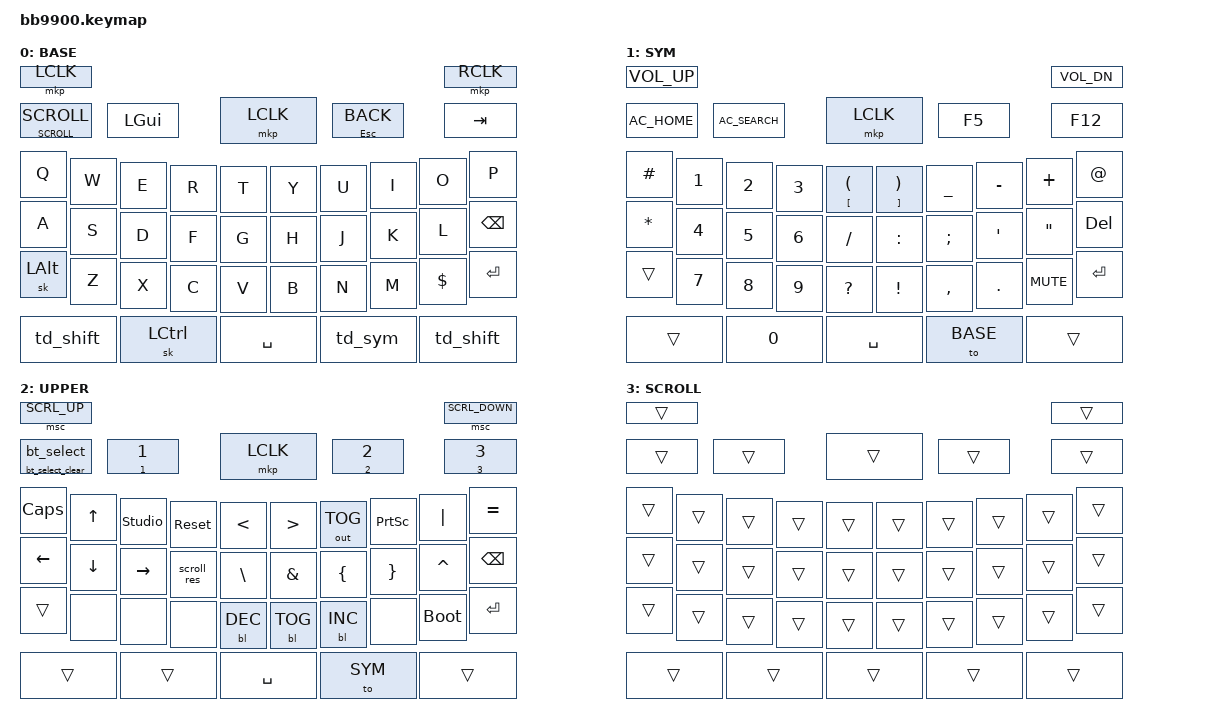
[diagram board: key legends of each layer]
/*
 * Copyright (c) 2023 ZitaoTech
 *
 * SPDX-License-Identifier: MIT
 */

#include <behaviors.dtsi>
#include <dt-bindings/zmk/keys.h>
#include <dt-bindings/zmk/bt.h>
#include <dt-bindings/zmk/outputs.h>
#include <dt-bindings/zmk/pointing.h>
#include <dt-bindings/zmk/backlight.h>
#include <dt-bindings/zmk/input_transform.h>

#define BASE 0
#define SYM 1
#define UPPER 2
#define SCROLL 3  // Keep in sync with CONFIG_ZMK_BB9900_TRACKPAD_INDICATOR_LAYER.

// Key positions used by combos.
#define POS_ALT 27
#define POS_LEFT_AA 37
#define POS_RIGHT_AA 41

// Modifiers and layers are sticky, BlackBerry style: tap applies to the next key, hold works
// as normal. Give up after 2 s instead of the default 1 s.
//
// The double-tap window (tapping-term-ms on the tap dances below) counts from the first press.
// aA presses are also held back by the alt + aA combo for up to its timeout, so keep the window
// generous: a single tap still resolves as soon as the next key is pressed.
//
// Layer keys: SYM taps for one key, holds for momentary and double-taps to lock; alt + aA
// toggles UPPER. In a locked SYM, SYM returns to BASE; in UPPER, SYM switches to SYM.
&sk {
    release-after-ms = <2000>;
    quick-release;
};

&sl {
    release-after-ms = <2000>;
};

/ {
    behaviors {
        // Big buttons on UPPER: tap to select a Bluetooth profile, hold 2 s to select and clear it.
        bt_select: bt_select {
            compatible = "zmk,behavior-macro-one-param";
            #binding-cells = <1>;
            bindings = <&macro_param_1to2>, <&bt BT_SEL MACRO_PLACEHOLDER>;
        };

        bt_select_clear: bt_select_clear {
            compatible = "zmk,behavior-macro-one-param";
            #binding-cells = <1>;
            bindings = <&macro_param_1to2>, <&bt BT_SEL MACRO_PLACEHOLDER>, <&bt BT_CLR>;
        };

        bt_profile: bt_profile {
            compatible = "zmk,behavior-hold-tap";
            #binding-cells = <2>;
            flavor = "tap-preferred";
            tapping-term-ms = <2000>;
            bindings = <&bt_select_clear>, <&bt_select>;
        };

        // Toggle smooth or whole-notch scrolling for the current output (USB or BLE profile).
        scroll_res: scroll_resolution {
            compatible = "zitaotech,behavior-scroll-resolution";
            #binding-cells = <0>;
        };

        // Call: tap to toggle scroll mode, hold to scroll while held.
        scroll_mode: scroll_mode {
            compatible = "zmk,behavior-hold-tap";
            #binding-cells = <2>;
            flavor = "hold-preferred";
            tapping-term-ms = <150>;
            bindings = <&mo>, <&tog>;
        };

        // aA: tap for one capital, hold for Shift, double-tap for caps word.
        td_shift: tap_dance_shift {
            compatible = "zmk,behavior-tap-dance";
            #binding-cells = <0>;
            tapping-term-ms = <300>;
            bindings = <&sk LSHFT>, <&caps_word>;
        };

        // SYM: tap for one key from SYM, hold for SYM, double-tap to lock it.
        td_sym: tap_dance_sym {
            compatible = "zmk,behavior-tap-dance";
            #binding-cells = <0>;
            tapping-term-ms = <300>;
            bindings = <&sl SYM>, <&to SYM>;
        };
    };

    combos {
        compatible = "zmk,combos";

        upper_left {
            timeout-ms = <50>;
            key-positions = <POS_ALT POS_LEFT_AA>;
            bindings = <&tog UPPER>;
        };

        upper_right {
            timeout-ms = <50>;
            key-positions = <POS_ALT POS_RIGHT_AA>;
            bindings = <&tog UPPER>;
        };
    };

    keymap {
        compatible = "zmk,keymap";

        default_layer {
            display-name = "BASE";
            bindings = <
//         --------------------------------------------------------------------------------------------------------------------------
//         |    Shoulder Key1    |                                                                             |    Shoulder Key2    |
// |         Call key      |      Blackberry Key        |    Trackpad    |             Back Key                |             Endcall Key          |
// |     Q      |     W    |     E    |     R    |      T      |       Y        |       U        |        I        |       O      |      P        |
// |     A      |     S    |     D    |     F    |      G      |       H        |       J        |        K        |       L      |      ←        |
// |     alt    |     Z    |     X    |     C    |      V      |       B        |       N        |        M        |       $      |    Enter      |
//        |         aA     |         0           |           SPACE              |         SYM         |        aA          |
//        -----------------------------------------------------------------------------------------------------------------
// alt + aA (either) = UPPER

                 &mkp LCLK                                                                                          &mkp RCLK
    &scroll_mode SCROLL SCROLL &kp LGUI                         &mkp LCLK                          &mt ESC K_BACK                    &kp TAB
    &kp Q        &kp W      &kp E       &kp R     &kp T         &kp Y             &kp U            &kp I            &kp O            &kp P
    &kp A        &kp S      &kp D       &kp F     &kp G         &kp H             &kp J            &kp K            &kp L            &kp BSPC
    &sk LALT     &kp Z      &kp X       &kp C     &kp V         &kp B             &kp N            &kp M            &kp DLLR         &kp ENTER
    &td_shift               &sk LCTRL                           &kp SPACE                          &td_sym                           &td_shift
            >;
        };

        // The legends printed on the keys.
        sym_layer {
            display-name = "SYM";
            bindings = <
                 &kp C_VOL_UP                                                                                       &kp C_VOL_DN
    &kp C_AC_HOME           &kp C_AC_SEARCH                     &mkp LCLK                          &kp F5                            &kp F12
    &kp HASH     &kp N1     &kp N2      &kp N3    &mt LBKT LPAR &mt RBKT RPAR     &kp UNDER        &kp MINUS        &kp PLUS         &kp AT
    &kp STAR     &kp N4     &kp N5      &kp N6    &kp SLASH     &kp COLON         &kp SEMI         &kp APOS         &kp DQT          &kp DEL
    &trans       &kp N7     &kp N8      &kp N9    &kp QMARK     &kp EXCL          &kp COMMA        &kp DOT          &kp C_MUTE       &kp ENTER
    &trans                  &kp N0                              &kp SPACE                          &to BASE                          &trans
            >;
        };

        // Bluetooth, navigation, extra symbols and system controls.
        upper_layer {
            display-name = "UPPER";
            bindings = <
                 &msc SCRL_UP                                                                                       &msc SCRL_DOWN
    &bt_profile 0 0         &bt_profile 1 1                          &mkp LCLK                      &bt_profile 2 2                  &bt_profile 3 3
    &kp CLCK     &kp UP     &studio_unlock &sys_reset &kp LT        &kp GT            &out OUT_TOG     &kp PSCRN          &kp PIPE         &kp EQUAL
    &kp LEFT     &kp DOWN   &kp RIGHT   &scroll_res &kp BSLH      &kp AMPS          &kp LBRC         &kp RBRC        &kp CARET        &kp BSPC
    &trans       &none      &none       &none      &bl BL_DEC    &bl BL_TOG        &bl BL_INC       &none           &bootloader      &kp ENTER
    &trans                  &trans                                   &kp SPACE                      &to SYM                          &trans
            >;
        };

        // Scroll mode: keys pass through, and the trackpad scrolls instead of moving the pointer.
        scroll_layer {
            display-name = "SCROLL";
            bindings = <
                 &trans                                                                                             &trans
    &trans                  &trans                              &trans                             &trans                            &trans
    &trans       &trans     &trans      &trans    &trans        &trans            &trans           &trans           &trans           &trans
    &trans       &trans     &trans      &trans    &trans        &trans            &trans           &trans           &trans           &trans
    &trans       &trans     &trans      &trans    &trans        &trans            &trans           &trans           &trans           &trans
    &trans                  &trans                              &trans                             &trans                            &trans
            >;
        };
    };
};

// In scroll mode the trackpad goes through the scroll curve instead of the pointer scaler.
// Tune the curve with knee, low-gain and high-gain on &scroll_curve (see its binding).
&trackpad_listener {
    scroll_mode {
        layers = <SCROLL>;
        input-processors = <&zip_xy_transform INPUT_TRANSFORM_XY_SWAP>,
                           <&scroll_curve>;
    };
};

// Pointer speed. Uncomment and edit to override the board default: <&zip_xy_scaler 3 2> is a
// fraction (3/2 = 1.5x); use <&zip_x_scaler ...> and <&zip_y_scaler ...> for separate horizontal
// and vertical speeds.
//
// &trackpad_listener {
//     input-processors = <&zip_xy_transform INPUT_TRANSFORM_XY_SWAP>,
//                        <&zip_xy_scaler 3 2>;
// };
//
// Scroll speed:
//
// &scroll_curve {
//     knee = <6>;
//     low-gain = <34>;
//     high-gain = <3>;
// };
